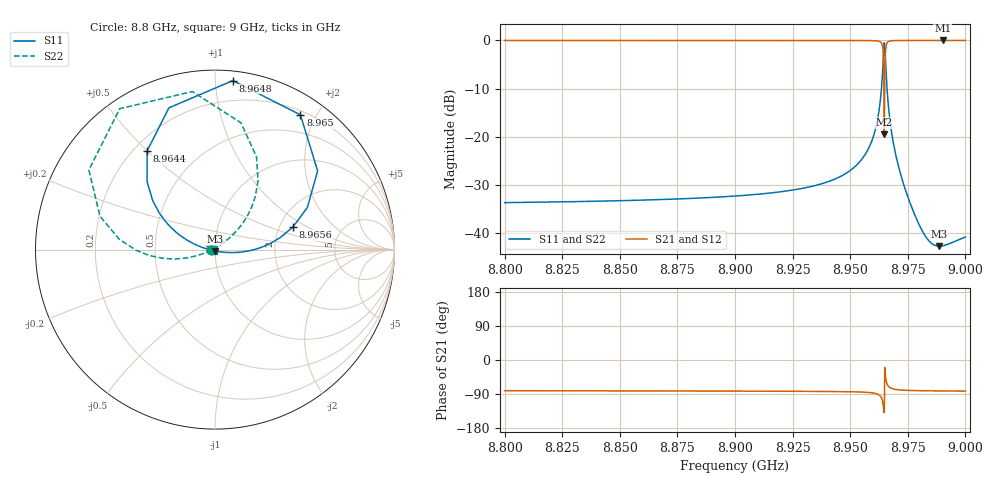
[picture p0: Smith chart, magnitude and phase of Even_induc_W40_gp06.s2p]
! Sonnet Data File
! From: emgraph Version : 16.52
! From Project: Resonator2_cp_varyW
! Data is De-embedded
! Data File Written: 10/07/2017 23:12:07
!< HDATE 10/07/2017 13:09:30
!< MDATE 10/07/2017 13:09:30
!< PARAMS
!< gap = 6.0
!< Length = 400.0
!< Pwid1 = 2000.0
!< Pwid2 = 2000.0
!< Air_gap = 24.0
!< Width = 40.0
!< END PARAMS
# GHZ S MA R 51.80000
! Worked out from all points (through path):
!   1001 points, 8.8 GHz to 9 GHz, reference 51.8 ohm
!   highest |S21| = 0.00 dB at 8.9902 GHz (marker M1); lowest = -19.5 dB at 8.9648 GHz (marker M2)
!   lowest |S11| = -42.7 dB at 8.9886 GHz (marker M3), VSWR 1.01, Z = 51.6 - j0.745 ohm
!   |S11| at or under -10 dB: start of sweep to 8.9636 GHz; 8.965988 GHz to end of sweep
!   |S22| runs from -42.6 to -0.5 dB; largest |S21 - S12| = 0
!   S11 on the Smith chart (normalised r, x): 8.8 GHz: 0.96, -0.01; 8.9644 GHz: 0.25, +0.50; 8.9648 GHz: 0.06, +1.11; 8.965 GHz: 0.25, +1.79; 8.9656 GHz: 2.37, +0.75; 9 GHz: 0.99, -0.01
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8.8  0.02079 -170.4  0.9998 -81.0  0.9998 -81.0  0.02079 -171.6
!< P1 F=8.8 Eeff=(6.44313487 -2.9703e-5) Z0=(50.4821399 1.16465e-4) R=0.0 C=0.0
!< P2 F=8.8 Eeff=(6.44313487 -2.9703e-5) Z0=(50.4821399 1.16465e-4) R=0.0 C=0.0
8.8334  0.02137 -171.3  0.9998 -81.3  0.9998 -81.3  0.02137 -171.4
8.8668  0.02235 -172.6  0.9997 -81.7  0.9997 -81.7  0.02235 -170.8
8.9  0.02434 -174.6  0.9997 -82.1  0.9997 -82.1  0.02434 -169.6
8.9334  0.0307 -179.1  0.9995 -82.8  0.9995 -82.8  0.03071 -166.6
8.948  0.04158 176.5  0.9991 -83.6  0.9991 -83.6  0.04159 -163.7
8.9568  0.06746 170.9  0.9976 -85.2  0.9976 -85.2  0.06749 -161.4
8.9606  0.1117 165.7  0.9933 -87.8  0.9933 -87.8  0.1118 -161.7
8.963  0.2297 156.4  0.9708 -94.7  0.9708 -94.7  0.2299 -166.9
8.9638  0.3732 146.6  0.9206 -103.3  0.9206 -103.3  0.3735 -175.3
8.9644  0.6672 124.5  0.7145 -123.2  0.7145 -123.2  0.6677 163.8
8.9648  0.9469 84.0  0.1059 -138.9  0.1059 -138.9  0.9476 124.1
8.965  0.8889 57.6  0.3567 -19.5  0.3567 -19.5  0.8896 98.2
8.9656  0.4525 16.2  0.879 -54.5  0.879 -54.5  0.4529 58.0
8.9662  0.2688 3.5  0.9588 -65.8  0.9588 -65.8  0.269 46.7
8.9668  0.1857 -2.4  0.9805 -70.7  0.9805 -70.7  0.1858 42.3
8.97  0.06166 -14.6  0.9978 -77.9  0.9978 -77.9  0.06173 39.3
8.9756  0.02186 -29.9  0.9997 -80.3  0.9997 -80.3  0.02192 49.6
8.9826  0.009364 -63.0  0.9999 -81.2  0.9999 -81.2  0.00941 80.7
8.9886  0.007355 -101.2  1 -81.6  1 -81.6  0.007389 118.0
8.9902  0.007425 -109.6  1 -81.7  1 -81.7  0.007455 126.2
9  0.009158 -138.6  0.9999 -82.0  0.9999 -82.0  0.009172 154.5
